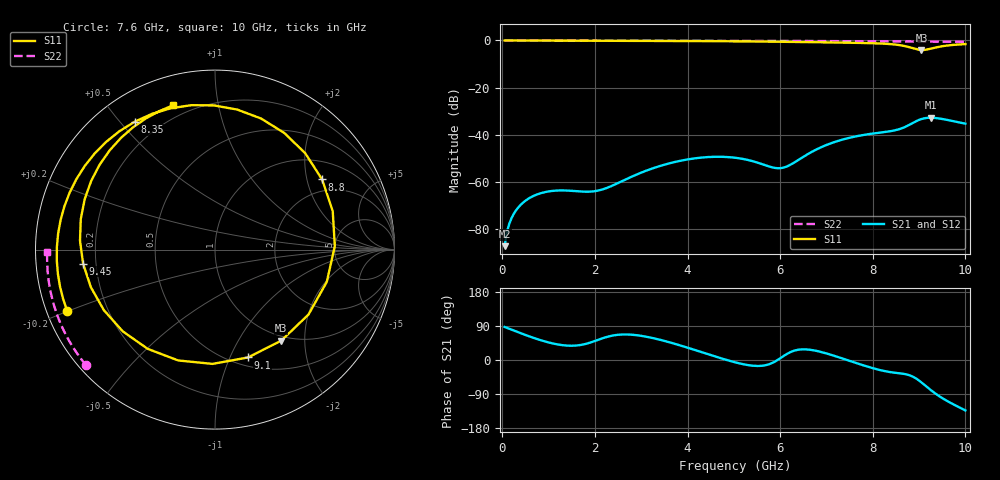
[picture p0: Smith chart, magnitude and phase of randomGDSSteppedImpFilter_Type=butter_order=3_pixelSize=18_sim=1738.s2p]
! freq	dB(S11)	phase(S11)	dB(S12)	phase(S12)
!  dB(S21)	phase(S21)	dB(S22)	phase(S22)
!S-par simulation data
#  GHz  S  DB  R 50
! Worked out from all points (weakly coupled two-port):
!   200 points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, 50 MHz to 10 GHz, reference 50 ohm
!   highest |S21| = -32.82 dB at 9.25 GHz (marker M1); lowest = -87.4 dB at 50 MHz (marker M2)
!   lowest |S11| = -4.0 dB at 9.05 GHz (marker M3), VSWR 4.37, Z = 46.3 - j77.4 ohm
!   |S11| at or under -10 dB: nowhere
!   |S22| runs from -0.6 to 0.0 dB; largest |S21 - S12| = 0
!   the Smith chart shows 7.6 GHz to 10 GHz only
!   S11 on the Smith chart (normalised r, x): 7.6 GHz: 0.06, -0.20; 8.35 GHz: 0.11, +0.55; 8.8 GHz: 1.56, +2.48; 9.1 GHz: 0.59, -1.17; 9.45 GHz: 0.15, -0.05; 10 GHz: 0.14, +0.74
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0.05  -0.00 -4.0  -87.37 87.2  -87.37 87.2  -0.00 -1.0
0.4  -0.04 -31.4  -69.75 70.6  -69.75 70.6  -0.01 -8.1
0.9  -0.08 -68.3  -64.51 49.7  -64.51 49.7  -0.02 -18.2
1.75  -0.13 -122.9  -64.21 41.0  -64.21 41.0  -0.04 -35.1
2.55  -0.16 -166.7  -60.09 67.1  -60.09 67.1  -0.07 -50.6
3.4  -0.20 149.3  -53.35 53.5  -53.35 53.5  -0.09 -66.5
4.3  -0.27 99.5  -49.75 20.9  -49.75 20.9  -0.12 -82.7
5.05  -0.36 51.1  -49.87 -6.8  -49.87 -6.8  -0.15 -95.7
5.85  -0.52 -9.2  -54.00 -6.6  -54.00 -6.6  -0.19 -109.2
6.7  -0.72 -79.7  -47.14 26.0  -47.14 26.0  -0.24 -123.3
7.15  -0.85 -117.9  -43.30 11.7  -43.30 11.7  -0.27 -130.7
7.6  -1.00 -157.4  -40.89 -6.3  -40.89 -6.3  -0.31 -138.1
8  -1.18 163.9  -39.54 -21.5  -39.54 -21.5  -0.35 -144.7
8.35  -1.50 122.1  -38.63 -31.4  -38.63 -31.4  -0.38 -150.5
8.6  -2.05 81.0  -37.50 -35.4  -37.50 -35.4  -0.41 -154.7
8.8  -2.93 33.2  -35.73 -40.6  -35.73 -40.6  -0.43 -158.1
8.95  -3.76 -16.1  -34.18 -50.0  -34.18 -50.0  -0.45 -160.7
9.05  -4.05 -53.9  -33.39 -59.0  -33.39 -59.0  -0.46 -162.4
9.1  -4.03 -73.0  -33.12 -64.0  -33.12 -64.0  -0.47 -163.3
9.25  -3.50 -124.1  -32.82 -79.1  -32.82 -79.1  -0.49 -165.9
9.45  -2.63 -173.9  -33.18 -96.7  -33.18 -96.7  -0.51 -169.4
10  -1.55 106.3  -35.34 -133.1  -35.34 -133.1  -0.59 -179.3
